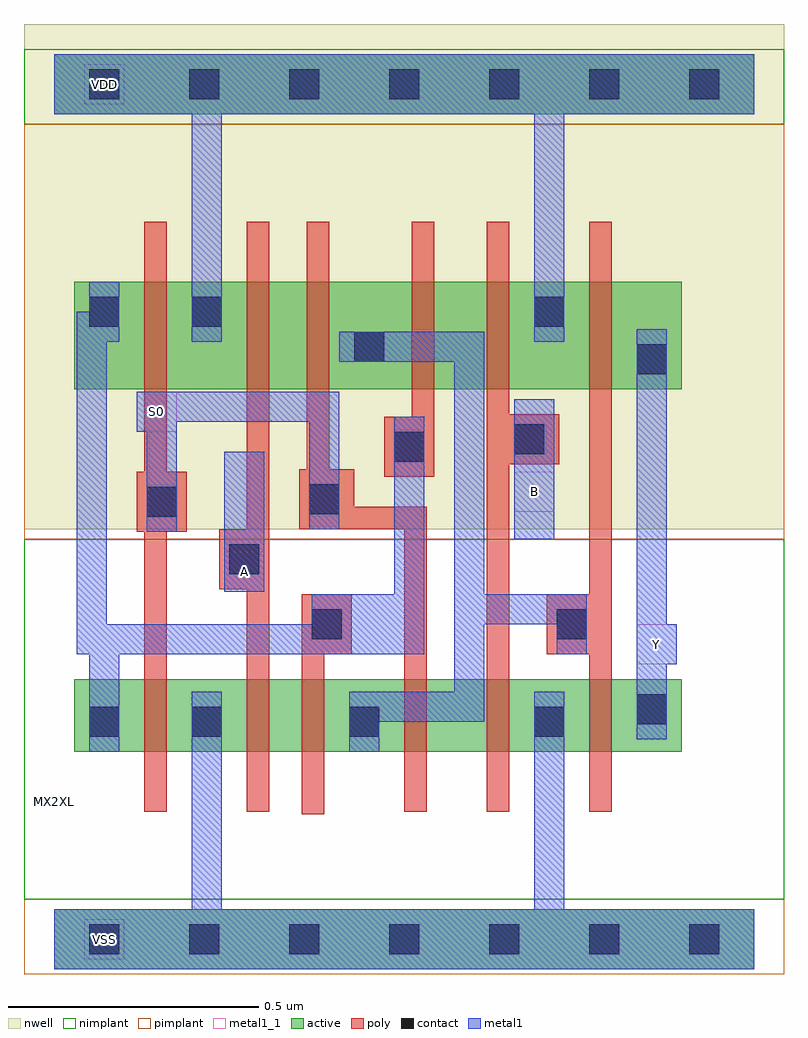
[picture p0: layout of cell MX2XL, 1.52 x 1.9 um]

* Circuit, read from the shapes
.subckt MX2XL A B S0 VDD VSS Y
M1 VSS S0 n1 VSS nfet w=0.145u l=0.045u
M2 n2 A VSS VSS nfet w=0.145u l=0.045u
M3 n3 n1 n2 VSS nfet w=0.145u l=0.045u
M4 n4 S0 n3 VSS nfet w=0.145u l=0.045u
M5 VSS B n4 VSS nfet w=0.145u l=0.045u
M6 Y n3 VSS VSS nfet w=0.145u l=0.045u
M7 VDD S0 n1 VDD pfet w=0.215u l=0.045u
M8 n5 A VDD VDD pfet w=0.215u l=0.045u
M9 n3 S0 n5 VDD pfet w=0.215u l=0.045u
M10 n6 n1 n3 VDD pfet w=0.215u l=0.045u
M11 VDD B n6 VDD pfet w=0.215u l=0.045u
M12 Y n3 VDD VDD pfet w=0.215u l=0.045u
.ends

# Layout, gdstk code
import gdstk
lib = gdstk.Library(unit=1e-6, precision=5e-10)
def R(c, l, rs):  # rectangles x0, y0, x1, y1
    for r in rs: c.add(gdstk.rectangle(r[:2], r[2:], *l))
def A(c, l, x, y, w, h, nx, ny, dx, dy):  # array of equal rectangles
    R(c, l, [(x+i*dx, y+j*dy, x+i*dx+w, y+j*dy+h) for i in range(nx) for j in range(ny)])
def P(c, l, *ps):  # polygons
    for p in ps: c.add(gdstk.Polygon(p, *l))
active = (1, 0)
nwell = (2, 0)
poly = (3, 0)
nimplant = (4, 0)
pimplant = (5, 0)
contact = (6, 0)
metal1 = (7, 0)
metal1_1 = (7, 1)

mx2xl = lib.new_cell('MX2XL')
R(mx2xl, active, [(0,-0.06,1.4,0.06), (0.04,0.375,1.255,0.52), (0.04,1.1,1.255,1.315), (0,1.65,1.4,1.77)])
R(mx2xl, nwell, [(-0.06,0.82,1.46,1.83)])
R(mx2xl, poly, [(0.165,0.815,0.265,0.935)])
P(mx2xl, poly, [(0.18,1.435),(0.225,1.435),(0.225,0.255),(0.18,0.255),(0.18,0.815),(0.165,0.815),(0.165,0.935),(0.18,0.935)],
  [(0.385,1.435),(0.43,1.435),(0.43,0.255),(0.385,0.255),(0.385,0.7),(0.33,0.7),(0.33,0.82),(0.385,0.82)],
  [(0.745,0.865),(0.6,0.865),(0.6,0.94),(0.55,0.94),(0.55,1.435),(0.505,1.435),(0.505,0.94),(0.49,0.94),(0.49,0.82),(0.7,0.82),(0.7,0.255),(0.745,0.255)],
  [(0.715,1.435),(0.76,1.435),(0.76,0.925),(0.66,0.925),(0.66,1.045),(0.715,1.045)],
  [(0.865,1.435),(0.91,1.435),(0.91,1.05),(1.01,1.05),(1.01,0.95),(0.91,0.95),(0.91,0.255),(0.865,0.255)],
  [(1.07,1.435),(1.115,1.435),(1.115,0.255),(1.07,0.255),(1.07,0.57),(0.985,0.57),(0.985,0.69),(1.07,0.69)],
  [(0.495,0.69),(0.595,0.69),(0.595,0.57),(0.54,0.57),(0.54,0.25),(0.495,0.25)])
R(mx2xl, nimplant, [(-0.06,0.08,1.46,0.8), (-0.06,1.63,1.46,1.78)])
R(mx2xl, pimplant, [(-0.06,-0.07,1.46,0.08), (-0.06,0.8,1.46,1.63)])
A(mx2xl, contact, 0.07, -0.03, 0.06, 0.06, 7, 2, 0.2, 1.71)
R(mx2xl, contact, [(0.07,0.405,0.13,0.465), (0.275,0.405,0.335,0.465), (0.59,0.405,0.65,0.465), (0.96,0.405,1.02,0.465), (1.165,0.43,1.225,0.49), (0.515,0.6,0.575,0.66), (1.005,0.6,1.065,0.66), (0.35,0.73,0.41,0.79), (0.185,0.845,0.245,0.905), (0.51,0.85,0.57,0.91), (0.68,0.955,0.74,1.015), (0.92,0.97,0.98,1.03), (1.165,1.13,1.225,1.19), (0.6,1.155,0.66,1.215), (0.07,1.225,0.13,1.285), (0.275,1.225,0.335,1.285), (0.96,1.225,1.02,1.285)])
R(mx2xl, metal1, [(0.34,0.695,0.42,0.975), (0.92,0.8,1,1.08)])
P(mx2xl, metal1, [(0,1.77),(1.4,1.77),(1.4,1.65),(1.02,1.65),(1.02,1.195),(0.96,1.195),(0.96,1.65),(0.335,1.65),(0.335,1.195),(0.275,1.195),(0.275,1.65),(0,1.65)],
  [(0.07,1.315),(0.13,1.315),(0.13,1.195),(0.105,1.195),(0.105,0.63),(0.515,0.63),(0.515,0.69),(0.68,0.69),(0.68,1.045),(0.74,1.045),(0.74,0.57),(0.13,0.57),(0.13,0.375),(0.07,0.375),(0.07,0.57),(0.045,0.57),(0.045,1.255),(0.07,1.255)],
  [(0.57,1.215),(0.86,1.215),(0.86,0.69),(1.065,0.69),(1.065,0.57),(1.005,0.57),(1.005,0.63),(0.86,0.63),(0.86,0.435),(0.65,0.435),(0.65,0.375),(0.59,0.375),(0.59,0.495),(0.8,0.495),(0.8,1.155),(0.57,1.155)],
  [(1.165,1.22),(1.225,1.22),(1.225,0.63),(1.245,0.63),(1.245,0.55),(1.225,0.55),(1.225,0.4),(1.165,0.4)],
  [(0.57,1.095),(0.165,1.095),(0.165,1.015),(0.185,1.015),(0.185,0.815),(0.245,0.815),(0.245,1.035),(0.51,1.035),(0.51,0.82),(0.57,0.82)],
  [(0.275,0.495),(0.335,0.495),(0.335,0.06),(0.96,0.06),(0.96,0.495),(1.02,0.495),(1.02,0.06),(1.4,0.06),(1.4,-0.06),(0,-0.06),(0,0.06),(0.275,0.06)])
R(mx2xl, metal1_1, [(0.06,-0.04,0.14,0.04), (1.165,0.55,1.245,0.63), (0.34,0.695,0.42,0.775), (0.92,0.855,1,0.935), (0.165,1.015,0.245,1.095), (0.06,1.67,0.14,1.75)])
mx2xl.add(gdstk.Label('VSS', (0.1,0), layer=7, texttype=1))
mx2xl.add(gdstk.Label('A', (0.38,0.735), layer=7, texttype=1))
mx2xl.add(gdstk.Label('Y', (1.205,0.59), layer=7, texttype=1))
mx2xl.add(gdstk.Label('B', (0.96,0.895), layer=7, texttype=1))
mx2xl.add(gdstk.Label('S0', (0.205,1.055), layer=7, texttype=1))
mx2xl.add(gdstk.Label('VDD', (0.1,1.71), layer=7, texttype=1))
mx2xl.add(gdstk.Label('MX2XL', (0,0.275), layer=63, texttype=0))

lib.write_gds('MX2XL.gds')
